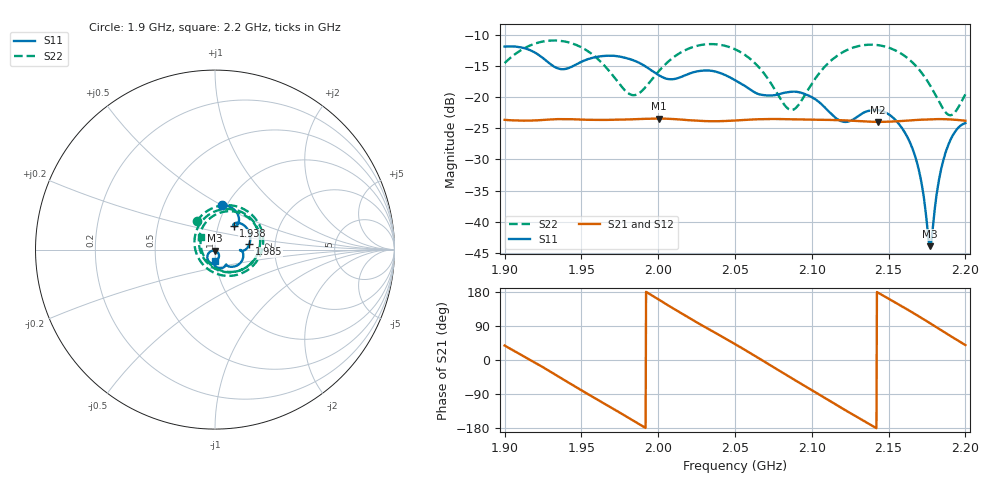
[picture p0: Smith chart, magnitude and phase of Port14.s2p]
# Hz S RI R 50
! CMT, CMT808U, 21440046, 21.4.3/4
! Date: 3/28/2026 5:06:08 PM
! Data: Format (Calibration Info)
! Freq	S11:Re/Im(F2)	S41:Re/Im(F2)	S14:Re/Im(F2)	S44:Re/Im(F2)
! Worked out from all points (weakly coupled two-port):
!   1001 points, 1.9 GHz to 2.2 GHz, reference 50 ohm
!   highest |S21| = -23.45 dB at 2 GHz (marker M1); lowest = -24.0 dB at 2.143 GHz (marker M2)
!   lowest |S11| = -43.9 dB at 2.177 GHz (marker M3), VSWR 1.01, Z = 49.8 - j0.614 ohm
!   |S11| at or under -10 dB: start of sweep to end of sweep
!   |S22| runs from -22.9 to -10.9 dB; largest |S21 - S12| = 0.00046
!   S11 on the Smith chart (normalised r, x): 1.9 GHz: 0.95, +0.51; 1.938 GHz: 1.18, +0.32; 1.985 GHz: 1.47, +0.09; 2.2 GHz: 0.99, -0.12
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1.9e9  0.0395 0.2503  0.0516 0.0406  0.0512 0.0408  -0.1023 0.1567
1.9183e9  0.1279 0.1938  0.0647 -0.00408  0.0646 -0.00371  0.0954 0.2459
1.9378e9  0.1037 0.1308  0.0426 -0.0512  0.0428 -0.0509  0.2621 0.0992
1.9501e9  0.12 0.1496  0.0112 -0.065  0.0115 -0.0649  0.2457 -0.0435
1.9678e9  0.1829 0.1119  -0.0347 -0.0557  -0.0344 -0.0558  0.0718 -0.1465
1.9852e9  0.1915 0.0295  -0.0636 -0.0191  -0.0635 -0.0195  -0.0963 -0.039
2.0002e9  0.1497 -0.00764  -0.0631 0.0231  -0.0632 0.0228  -0.0913 0.1316
2.0221e9  0.1557 -0.018  -0.0183 0.0624  -0.0186 0.0622  0.119 0.2201
2.05e9  0.0975 -0.0955  0.0482 0.0434  0.0479 0.0437  0.2408 -0.014
2.0683e9  0.0623 -0.0829  0.0665 -0.00259  0.0664 -0.00229  0.0954 -0.1257
2.0854e9  0.0507 -0.0974  0.0475 -0.0464  0.0477 -0.0461  -0.0616 -0.0502
2.1001e9  0.0108 -0.099  0.0117 -0.0648  0.012 -0.0647  -0.0799 0.1004
2.1205e9  -0.000447 -0.0634  -0.0412 -0.0505  -0.0409 -0.0507  0.084 0.2139
2.1433e9  -0.0225 -0.0752  -0.0632 0.00297  -0.0631 0.00265  0.248 0.0779
2.1502e9  -0.0373 -0.0622  -0.0602 0.0201  -0.0603 0.0198  0.248 0.00883
2.1667e9  -0.0317 -0.0154  -0.0351 0.055  -0.0354 0.0548  0.1433 -0.114
2.1715e9  -0.0189 -0.00743  -0.0234 0.0616  -0.0237 0.0614  0.0948 -0.1244
2.1769e9  -0.00171 -0.00616  -0.00844 0.0658  -0.00879 0.0657  0.0391 -0.1184
2.1826e9  0.0146 -0.0151  0.00826 0.0661  0.00788 0.066  -0.0143 -0.0919
2.1868e9  0.0216 -0.0275  0.0204 0.0633  0.0199 0.0633  -0.0458 -0.061
2.1922e9  0.0199 -0.0462  0.0344 0.0562  0.034 0.0563  -0.0725 -0.0109
2.2e9  -0.00197 -0.0618  0.0499 0.041  0.0496 0.0413  -0.0783 0.0701
